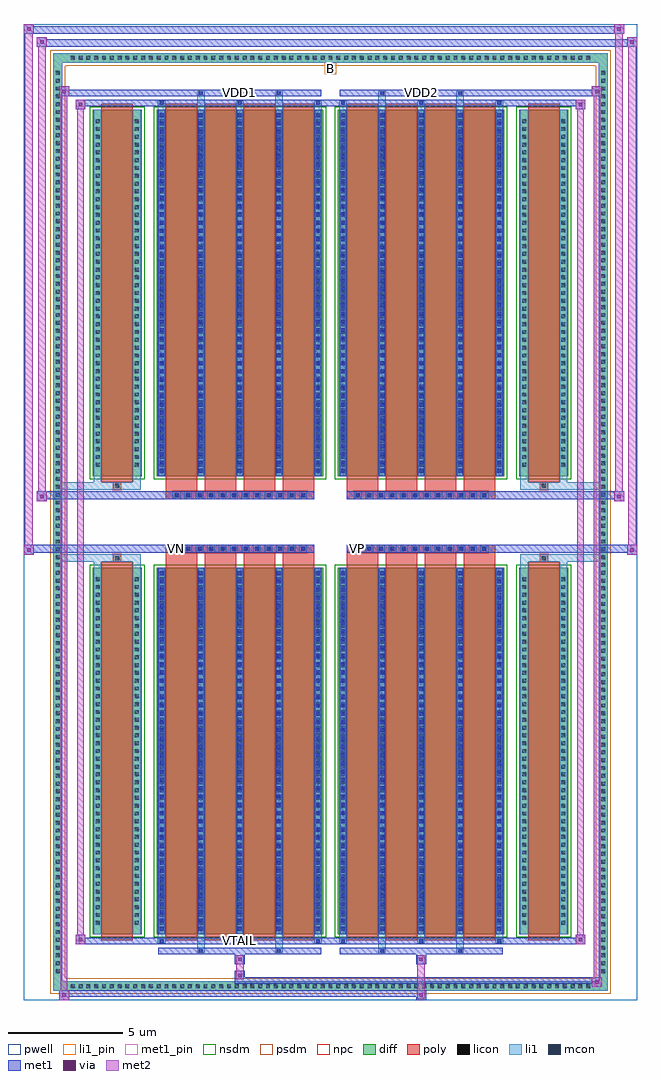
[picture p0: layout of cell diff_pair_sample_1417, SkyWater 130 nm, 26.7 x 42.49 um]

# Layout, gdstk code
import gdstk
lib = gdstk.Library(unit=1e-6, precision=5e-09)
def R(c, l, rs):  # rectangles x0, y0, x1, y1
    for r in rs: c.add(gdstk.rectangle(r[:2], r[2:], *l))
def A(c, l, x, y, w, h, nx, ny, dx, dy):  # array of equal rectangles
    R(c, l, [(x+i*dx, y+j*dy, x+i*dx+w, y+j*dy+h) for i in range(nx) for j in range(ny)])
def P(c, l, *ps):  # polygons
    for p in ps: c.add(gdstk.Polygon(p, *l))
pwell = (64, 44)
diff = (65, 20)
poly = (66, 20)
licon = (66, 44)
li1_pin = (67, 16)
li1 = (67, 20)
mcon = (67, 44)
met1_pin = (68, 16)
met1 = (68, 20)
via = (68, 44)
met2 = (69, 20)
nsdm = (93, 44)
psdm = (94, 20)
npc = (95, 20)

diff_pair_sample_1417 = lib.new_cell('diff_pair_sample_1417')
R(diff_pair_sample_1417, pwell, [(-13.35,-20.81,13.35,21.68), (-10.67,-19,-0.01,-0.8), (0.01,-19,10.67,-0.8), (-10.67,0.8,-0.01,19), (0.01,0.8,10.67,19)])
A(diff_pair_sample_1417, diff, -11.425, -20.41, 0.41, 0.41, 67, 2, 0.34, 40.41)
A(diff_pair_sample_1417, diff, -12.08, -19.755, 0.41, 0.41, 1, 116, 0, 0.34)
A(diff_pair_sample_1417, diff, 11.67, -19.755, 0.41, 0.41, 1, 116, 0, 0.34)
R(diff_pair_sample_1417, diff, [(-11.425,-20.41,11.425,-20), (-12.08,-19.755,-11.67,19.755), (11.67,-19.755,12.08,19.755), (-10.36,-17.955,-8.21,-1.985), (-7.57,-17.955,-0.32,-1.985), (0.32,-17.955,7.57,-1.985), (8.21,-17.955,10.36,-1.985), (-10.36,1.985,-8.21,17.955), (-7.57,1.985,-0.32,17.955), (0.32,1.985,7.57,17.955), (8.21,1.985,10.36,17.955), (-11.425,20,11.425,20.41)])
P(diff_pair_sample_1417, diff, [(12.08,20.41),(-12.08,20.41),(-12.08,-20),(-11.67,-20),(-11.67,20),(11.67,20),(11.67,-20),(-11.67,-20),(-12.08,-20),(-12.08,-20.41),(12.08,-20.41)])
A(diff_pair_sample_1417, poly, -7.18, -18.205, 1.37, 16.47, 4, 2, 1.7, 19.94)
A(diff_pair_sample_1417, poly, 0.71, -18.205, 1.37, 16.47, 4, 2, 1.7, 19.94)
A(diff_pair_sample_1417, poly, -7.18, -1.735, 1.37, 0.405, 4, 2, 1.7, 3.065)
A(diff_pair_sample_1417, poly, 0.71, -1.735, 1.37, 0.405, 4, 2, 1.7, 3.065)
A(diff_pair_sample_1417, poly, -6.86, -1.33, 0.33, 0.33, 12, 2, 0.5, 2.33)
A(diff_pair_sample_1417, poly, 1.03, -1.33, 0.33, 0.33, 12, 2, 0.5, 2.33)
R(diff_pair_sample_1417, poly, [(-9.97,-18.205,-8.6,-1.735), (8.6,-18.205,9.97,-1.735), (-9.45,-1.735,-9.12,-1.405), (-9.45,-1.735,-9.12,-1.405), (9.12,-1.735,9.45,-1.405), (9.12,-1.735,9.45,-1.405), (-7.18,-1.33,-0.71,-1), (0.71,-1.33,7.18,-1), (-7.18,1,-0.71,1.33), (0.71,1,7.18,1.33), (-9.45,1.405,-9.12,1.735), (-9.45,1.405,-9.12,1.735), (9.12,1.405,9.45,1.735), (9.12,1.405,9.45,1.735), (-9.97,1.735,-8.6,18.205), (8.6,1.735,9.97,18.205)])
A(diff_pair_sample_1417, licon, -11.305, -20.29, 0.17, 0.17, 67, 2, 0.34, 40.41)
A(diff_pair_sample_1417, licon, -11.96, -19.635, 0.17, 0.17, 1, 116, 0, 0.34)
A(diff_pair_sample_1417, licon, 11.79, -19.635, 0.17, 0.17, 1, 116, 0, 0.34)
A(diff_pair_sample_1417, licon, -10.22, -17.535, 0.17, 0.17, 1, 45, 0, 0.34)
A(diff_pair_sample_1417, licon, -8.52, -17.535, 0.17, 0.17, 1, 45, 0, 0.34)
A(diff_pair_sample_1417, licon, -7.43, -17.535, 0.17, 0.17, 5, 45, 1.7, 0.34)
A(diff_pair_sample_1417, licon, 0.46, -17.535, 0.17, 0.17, 5, 45, 1.7, 0.34)
A(diff_pair_sample_1417, licon, 8.35, -17.535, 0.17, 0.17, 1, 45, 0, 0.34)
A(diff_pair_sample_1417, licon, 10.05, -17.535, 0.17, 0.17, 1, 45, 0, 0.34)
A(diff_pair_sample_1417, licon, -6.78, -1.25, 0.17, 0.17, 12, 2, 0.5, 2.33)
A(diff_pair_sample_1417, licon, 1.11, -1.25, 0.17, 0.17, 12, 2, 0.5, 2.33)
A(diff_pair_sample_1417, licon, -10.22, 2.405, 0.17, 0.17, 1, 45, 0, 0.34)
A(diff_pair_sample_1417, licon, -8.52, 2.405, 0.17, 0.17, 1, 45, 0, 0.34)
A(diff_pair_sample_1417, licon, -7.43, 2.405, 0.17, 0.17, 5, 45, 1.7, 0.34)
A(diff_pair_sample_1417, licon, 0.46, 2.405, 0.17, 0.17, 5, 45, 1.7, 0.34)
A(diff_pair_sample_1417, licon, 8.35, 2.405, 0.17, 0.17, 1, 45, 0, 0.34)
A(diff_pair_sample_1417, licon, 10.05, 2.405, 0.17, 0.17, 1, 45, 0, 0.34)
R(diff_pair_sample_1417, licon, [(-9.37,-1.655,-9.2,-1.485), (9.2,-1.655,9.37,-1.485), (-9.37,1.485,-9.2,1.655), (9.2,1.485,9.37,1.655)])
R(diff_pair_sample_1417, li1_pin, [(-0.25,19.5,0.25,20)])
A(diff_pair_sample_1417, li1, -11.385, -20.37, 0.33, 0.33, 67, 2, 0.34, 40.41)
A(diff_pair_sample_1417, li1, -12.04, -19.715, 0.33, 0.33, 1, 116, 0, 0.34)
A(diff_pair_sample_1417, li1, 11.71, -19.715, 0.33, 0.33, 1, 116, 0, 0.34)
A(diff_pair_sample_1417, li1, -7.51, -18.33, 0.33, 0.375, 3, 2, 3.4, 36.285)
A(diff_pair_sample_1417, li1, -7.43, -18.33, 0.17, 0.17, 3, 2, 3.4, 36.49)
A(diff_pair_sample_1417, li1, 0.38, -18.33, 0.33, 0.375, 3, 2, 3.4, 36.285)
A(diff_pair_sample_1417, li1, 0.46, -18.33, 0.17, 0.17, 3, 2, 3.4, 36.49)
A(diff_pair_sample_1417, li1, -7.51, -17.955, 0.33, 15.97, 5, 2, 1.7, 19.94)
A(diff_pair_sample_1417, li1, 0.38, -17.955, 0.33, 15.97, 5, 2, 1.7, 19.94)
A(diff_pair_sample_1417, li1, -7.43, -17.795, 0.17, 0.17, 5, 44, 1.7, 0.36)
A(diff_pair_sample_1417, li1, -7.43, -17.795, 0.17, 15.65, 5, 2, 1.7, 19.94)
A(diff_pair_sample_1417, li1, 0.46, -17.795, 0.17, 0.17, 5, 44, 1.7, 0.36)
A(diff_pair_sample_1417, li1, 0.46, -17.795, 0.17, 15.65, 5, 2, 1.7, 19.94)
A(diff_pair_sample_1417, li1, -10.3, -17.615, 0.33, 0.33, 1, 45, 0, 0.34)
A(diff_pair_sample_1417, li1, -8.6, -17.615, 0.33, 0.33, 1, 45, 0, 0.34)
A(diff_pair_sample_1417, li1, -7.51, -17.615, 0.33, 0.33, 5, 45, 1.7, 0.34)
A(diff_pair_sample_1417, li1, 0.38, -17.615, 0.33, 0.33, 5, 45, 1.7, 0.34)
A(diff_pair_sample_1417, li1, 8.27, -17.615, 0.33, 0.33, 1, 45, 0, 0.34)
A(diff_pair_sample_1417, li1, 9.97, -17.615, 0.33, 0.33, 1, 45, 0, 0.34)
A(diff_pair_sample_1417, li1, -6.86, -1.33, 0.33, 0.33, 12, 2, 0.5, 2.33)
A(diff_pair_sample_1417, li1, 1.03, -1.33, 0.33, 0.33, 12, 2, 0.5, 2.33)
A(diff_pair_sample_1417, li1, -7.43, 2.145, 0.17, 0.17, 5, 44, 1.7, 0.36)
A(diff_pair_sample_1417, li1, 0.46, 2.145, 0.17, 0.17, 5, 44, 1.7, 0.36)
A(diff_pair_sample_1417, li1, -10.3, 2.325, 0.33, 0.33, 1, 45, 0, 0.34)
A(diff_pair_sample_1417, li1, -8.6, 2.325, 0.33, 0.33, 1, 45, 0, 0.34)
A(diff_pair_sample_1417, li1, -7.51, 2.325, 0.33, 0.33, 5, 45, 1.7, 0.34)
A(diff_pair_sample_1417, li1, 0.38, 2.325, 0.33, 0.33, 5, 45, 1.7, 0.34)
A(diff_pair_sample_1417, li1, 8.27, 2.325, 0.33, 0.33, 1, 45, 0, 0.34)
A(diff_pair_sample_1417, li1, 9.97, 2.325, 0.33, 0.33, 1, 45, 0, 0.34)
R(diff_pair_sample_1417, li1, [(-12.08,-20.41,-11.67,-20), (-12.08,-20.41,-11.67,-20), (-11.67,-20.41,11.67,-20), (11.67,-20.41,12.08,-20), (11.67,-20.41,12.08,-20), (-12.08,-20,-11.67,20), (11.67,-20,12.08,20), (-5.81,-18.76,-5.48,-17.955), (-5.73,-18.76,-5.56,-18.59), (-2.41,-18.76,-2.08,-17.955), (-2.33,-18.76,-2.16,-18.59), (2.08,-18.76,2.41,-17.955), (2.16,-18.76,2.33,-18.59), (5.48,-18.76,5.81,-17.955), (5.56,-18.76,5.73,-18.59), (-10.3,-17.955,-9.97,-1.985), (-8.6,-17.955,-8.27,-1.985), (8.27,-17.955,8.6,-1.985), (9.97,-17.955,10.3,-1.985), (-10.3,-1.985,-9.97,-1.405), (-8.6,-1.985,-8.27,-1.405), (8.27,-1.985,8.6,-1.405), (9.97,-1.985,10.3,-1.405), (-12.08,-1.735,-9.45,-1.405), (-10.3,-1.735,-9.45,-1.405), (-9.45,-1.735,-9.12,-1.405), (-9.12,-1.735,-8.27,-1.405), (8.27,-1.735,9.12,-1.405), (9.12,-1.735,9.45,-1.405), (9.12,-1.735,12.08,-1.405), (9.45,-1.735,10.3,-1.405), (-12.08,1.405,-9.45,1.735), (-10.3,1.405,-9.45,1.735), (-10.3,1.405,-9.97,1.985), (-9.45,1.405,-9.12,1.735), (-9.12,1.405,-8.27,1.735), (-8.6,1.405,-8.27,1.985), (8.27,1.405,9.12,1.735), (8.27,1.405,8.6,1.985), (9.12,1.405,9.45,1.735), (9.12,1.405,12.08,1.735), (9.45,1.405,10.3,1.735), (9.97,1.405,10.3,1.985), (-10.3,1.985,-9.97,17.955), (-8.6,1.985,-8.27,17.955), (8.27,1.985,8.6,17.955), (9.97,1.985,10.3,17.955), (-5.81,17.955,-5.48,18.76), (-2.41,17.955,-2.08,18.76), (2.08,17.955,2.41,18.76), (5.48,17.955,5.81,18.76), (-5.73,18.59,-5.56,18.76), (-2.33,18.59,-2.16,18.76), (2.16,18.59,2.33,18.76), (5.56,18.59,5.73,18.76), (-12.08,20,-11.67,20.41), (-12.08,20,-11.67,20.41), (-11.67,20,11.67,20.41), (11.67,20,12.08,20.41), (11.67,20,12.08,20.41)])
A(diff_pair_sample_1417, mcon, -7.43, -18.33, 0.17, 0.17, 3, 2, 3.4, 36.49)
A(diff_pair_sample_1417, mcon, 0.46, -18.33, 0.17, 0.17, 3, 2, 3.4, 36.49)
A(diff_pair_sample_1417, mcon, -7.43, -17.795, 0.17, 0.17, 5, 44, 1.7, 0.36)
A(diff_pair_sample_1417, mcon, 0.46, -17.795, 0.17, 0.17, 5, 44, 1.7, 0.36)
A(diff_pair_sample_1417, mcon, -6.78, -1.25, 0.17, 0.17, 12, 2, 0.5, 2.33)
A(diff_pair_sample_1417, mcon, 1.11, -1.25, 0.17, 0.17, 12, 2, 0.5, 2.33)
A(diff_pair_sample_1417, mcon, -7.43, 2.145, 0.17, 0.17, 5, 44, 1.7, 0.36)
A(diff_pair_sample_1417, mcon, 0.46, 2.145, 0.17, 0.17, 5, 44, 1.7, 0.36)
R(diff_pair_sample_1417, mcon, [(-5.73,-18.76,-5.56,-18.59), (-2.33,-18.76,-2.16,-18.59), (2.16,-18.76,2.33,-18.59), (5.56,-18.76,5.73,-18.59), (-5.73,18.59,-5.56,18.76), (-2.33,18.59,-2.16,18.76), (2.16,18.59,2.33,18.76), (5.56,18.59,5.73,18.76)])
R(diff_pair_sample_1417, met1_pin, [(-4.08,-18.37,-3.81,-18.1), (-6.83,-1.29,-6.56,-1.02), (1.06,-1.29,1.33,-1.02), (-4.08,18.55,-3.81,18.82), (3.81,18.55,4.08,18.82)])
A(diff_pair_sample_1417, met1, -7.49, -18.39, 0.29, 0.29, 3, 2, 3.4, 36.49)
A(diff_pair_sample_1417, met1, 0.4, -18.39, 0.29, 0.29, 3, 2, 3.4, 36.49)
A(diff_pair_sample_1417, met1, -7.49, -17.955, 0.29, 15.97, 5, 2, 1.7, 19.94)
A(diff_pair_sample_1417, met1, 0.4, -17.955, 0.29, 15.97, 5, 2, 1.7, 19.94)
A(diff_pair_sample_1417, met1, -7.49, -17.855, 0.29, 0.29, 5, 44, 1.7, 0.36)
A(diff_pair_sample_1417, met1, 0.4, -17.855, 0.29, 0.29, 5, 44, 1.7, 0.36)
A(diff_pair_sample_1417, met1, -6.84, -1.31, 0.29, 0.29, 12, 2, 0.5, 2.33)
A(diff_pair_sample_1417, met1, 1.05, -1.31, 0.29, 0.29, 12, 2, 0.5, 2.33)
A(diff_pair_sample_1417, met1, -7.49, 2.085, 0.29, 0.29, 5, 44, 1.7, 0.36)
A(diff_pair_sample_1417, met1, 0.4, 2.085, 0.29, 0.29, 5, 44, 1.7, 0.36)
R(diff_pair_sample_1417, met1, [(-11.81,-20.81,-11.38,-20.38), (3.73,-20.81,4.16,-20.38), (-11.81,-20.67,4.16,-20.38), (11.38,-20.24,11.81,-19.81), (-4.16,-20.1,11.81,-19.81), (-4.16,-19.96,-3.73,-19.53), (-4.16,-19.25,-3.73,-18.82), (3.73,-19.25,4.16,-18.82), (-7.49,-18.82,-0.4,-18.53), (-5.79,-18.82,-5.5,-18.53), (-2.39,-18.82,-2.1,-18.53), (0.4,-18.82,7.49,-18.53), (2.1,-18.82,2.39,-18.53), (5.5,-18.82,5.79,-18.53), (-11.1,-18.39,-10.67,-17.96), (-11.1,-18.39,-7.49,-18.1), (-7.49,-18.39,-0.4,-18.1), (-0.4,-18.39,0.4,-18.1), (0.4,-18.39,7.49,-18.1), (7.49,-18.39,11.1,-18.1), (10.67,-18.39,11.1,-17.96), (-13.35,-1.43,-12.92,-1), (12.92,-1.43,13.35,-1), (-13.35,-1.33,-0.71,-1), (-7.18,-1.33,-0.71,-1), (0.71,-1.33,7.18,-1), (0.71,-1.33,13.35,-1), (-12.78,0.9,-12.35,1.33), (12.35,0.9,12.78,1.33), (-12.78,1,-7.18,1.33), (-7.18,1,-0.71,1.33), (0.71,1,7.18,1.33), (7.18,1,12.78,1.33), (-11.1,17.96,-10.67,18.39), (10.67,17.96,11.1,18.39), (-11.1,18.1,-7.49,18.39), (-7.49,18.1,-0.4,18.39), (-0.4,18.1,0.4,18.39), (0.4,18.1,7.49,18.39), (7.49,18.1,11.1,18.39), (-11.81,18.53,-11.38,18.96), (-11.81,18.53,-7.49,18.82), (-7.49,18.53,-0.4,18.82), (-5.79,18.53,-5.5,18.82), (-2.39,18.53,-2.1,18.82), (0.4,18.53,7.49,18.82), (2.1,18.53,2.39,18.82), (5.5,18.53,5.79,18.82), (7.49,18.53,11.81,18.82), (11.38,18.53,11.81,18.96), (-12.78,20.68,-12.35,21.11), (-12.78,20.68,-10.67,21.01), (-10.67,20.68,10.67,21.01), (10.67,20.68,13.35,21.01), (12.92,20.68,13.35,21.11), (-13.35,21.25,-12.92,21.68), (-13.35,21.25,-10.67,21.58), (-10.67,21.25,10.67,21.58), (10.67,21.25,12.78,21.58), (12.35,21.25,12.78,21.68)])
R(diff_pair_sample_1417, via, [(-11.67,-20.67,-11.52,-20.52), (3.87,-20.67,4.02,-20.52), (11.52,-20.1,11.67,-19.95), (-4.02,-19.82,-3.87,-19.67), (-4.02,-19.11,-3.87,-18.96), (3.87,-19.11,4.02,-18.96), (-10.96,-18.25,-10.81,-18.1), (10.81,-18.25,10.96,-18.1), (-13.21,-1.29,-13.06,-1.14), (13.06,-1.29,13.21,-1.14), (-12.64,1.04,-12.49,1.19), (12.49,1.04,12.64,1.19), (-10.96,18.1,-10.81,18.25), (10.81,18.1,10.96,18.25), (-11.67,18.67,-11.52,18.82), (11.52,18.67,11.67,18.82), (-12.64,20.82,-12.49,20.97), (13.06,20.82,13.21,20.97), (-13.21,21.39,-13.06,21.54), (12.49,21.39,12.64,21.54)])
R(diff_pair_sample_1417, met2, [(-11.81,-20.81,-11.38,-20.38), (-11.74,-20.81,-11.45,18.96), (-11.45,-20.81,-11.38,-20.38), (-11.76,-20.76,-11.43,-20.43), (3.78,-20.76,4.11,-20.43), (3.78,-20.43,4.11,-19.2), (11.38,-20.24,11.81,-19.81), (11.45,-20.24,11.74,18.96), (11.74,-20.24,11.81,-19.81), (11.43,-20.19,11.76,-19.86), (-4.11,-19.91,-3.78,-19.58), (-4.11,-19.58,-3.78,-19.2), (-4.11,-19.2,-3.78,-18.87), (3.78,-19.2,4.11,-18.87), (-11.1,-18.39,-10.67,-17.96), (-11.03,-18.39,-10.74,18.39), (-10.74,-18.39,-10.67,-17.96), (10.67,-18.39,11.1,-17.96), (10.74,-18.39,11.03,18.39), (11.03,-18.39,11.1,-17.96), (-11.05,-18.34,-10.72,-18.01), (10.72,-18.34,11.05,-18.01), (-13.35,-1.43,-12.92,-1), (-13.3,-1.43,-12.97,21.68), (-12.97,-1.43,-12.92,-1), (12.92,-1.43,13.35,-1), (12.97,-1.43,13.3,21.11), (13.3,-1.43,13.35,-1), (-13.3,-1.38,-12.97,-1.05), (12.97,-1.38,13.3,-1.05), (-12.78,0.9,-12.35,1.33), (-12.73,0.9,-12.4,21.11), (-12.4,0.9,-12.35,1.33), (12.35,0.9,12.78,1.33), (12.4,0.9,12.73,21.68), (12.73,0.9,12.78,1.33), (-12.73,0.95,-12.4,1.28), (12.4,0.95,12.73,1.28), (-11.1,17.96,-10.67,18.39), (-10.74,17.96,-10.67,18.39), (10.67,17.96,11.1,18.39), (11.03,17.96,11.1,18.39), (-11.05,18.01,-10.72,18.34), (10.72,18.01,11.05,18.34), (-11.81,18.53,-11.38,18.96), (-11.45,18.53,-11.38,18.96), (11.38,18.53,11.81,18.96), (11.74,18.53,11.81,18.96), (-11.76,18.58,-11.43,18.91), (11.43,18.58,11.76,18.91), (-12.78,20.68,-12.35,21.11), (-12.4,20.68,-12.35,21.11), (12.92,20.68,13.35,21.11), (13.3,20.68,13.35,21.11), (-12.73,20.73,-12.4,21.06), (12.97,20.73,13.3,21.06), (-13.35,21.25,-12.92,21.68), (-12.97,21.25,-12.92,21.68), (12.35,21.25,12.78,21.68), (12.73,21.25,12.78,21.68), (-13.3,21.3,-12.97,21.63), (12.4,21.3,12.73,21.63)])
R(diff_pair_sample_1417, nsdm, [(-10.49,-18.085,-8.08,-1.855), (-7.7,-18.085,-0.19,-1.855), (0.19,-18.085,7.7,-1.855), (8.08,-18.085,10.49,-1.855), (-10.49,1.855,-8.08,18.085), (-7.7,1.855,-0.19,18.085), (0.19,1.855,7.7,18.085), (8.08,1.855,10.49,18.085)])
P(diff_pair_sample_1417, psdm, [(12.21,20.54),(-12.21,20.54),(-12.21,-19.87),(-11.54,-19.87),(-11.54,19.87),(11.54,19.87),(11.54,-19.87),(-11.54,-19.87),(-12.21,-19.87),(-12.21,-20.54),(12.21,-20.54)])
A(diff_pair_sample_1417, npc, -6.88, -1.35, 0.37, 0.37, 12, 2, 0.5, 2.33)
A(diff_pair_sample_1417, npc, 1.01, -1.35, 0.37, 0.37, 12, 2, 0.5, 2.33)
R(diff_pair_sample_1417, npc, [(-9.47,-1.755,-9.1,-1.385), (9.1,-1.755,9.47,-1.385), (-6.88,-1.35,-6.01,-0.98), (-6.88,-1.35,-6.01,-0.98), (-6.38,-1.35,-5.51,-0.98), (-6.38,-1.35,-5.51,-0.98), (-5.88,-1.35,-5.01,-0.98), (-5.88,-1.35,-5.01,-0.98), (-5.38,-1.35,-4.51,-0.98), (-5.38,-1.35,-4.51,-0.98), (-4.88,-1.35,-4.01,-0.98), (-4.88,-1.35,-4.01,-0.98), (-4.38,-1.35,-3.51,-0.98), (-4.38,-1.35,-3.51,-0.98), (-3.88,-1.35,-3.01,-0.98), (-3.88,-1.35,-3.01,-0.98), (-3.38,-1.35,-2.51,-0.98), (-3.38,-1.35,-2.51,-0.98), (-2.88,-1.35,-2.01,-0.98), (-2.88,-1.35,-2.01,-0.98), (-2.38,-1.35,-1.51,-0.98), (-2.38,-1.35,-1.51,-0.98), (-1.88,-1.35,-1.01,-0.98), (-1.88,-1.35,-1.01,-0.98), (1.01,-1.35,1.88,-0.98), (1.01,-1.35,1.88,-0.98), (1.51,-1.35,2.38,-0.98), (1.51,-1.35,2.38,-0.98), (2.01,-1.35,2.88,-0.98), (2.01,-1.35,2.88,-0.98), (2.51,-1.35,3.38,-0.98), (2.51,-1.35,3.38,-0.98), (3.01,-1.35,3.88,-0.98), (3.01,-1.35,3.88,-0.98), (3.51,-1.35,4.38,-0.98), (3.51,-1.35,4.38,-0.98), (4.01,-1.35,4.88,-0.98), (4.01,-1.35,4.88,-0.98), (4.51,-1.35,5.38,-0.98), (4.51,-1.35,5.38,-0.98), (5.01,-1.35,5.88,-0.98), (5.01,-1.35,5.88,-0.98), (5.51,-1.35,6.38,-0.98), (5.51,-1.35,6.38,-0.98), (6.01,-1.35,6.88,-0.98), (6.01,-1.35,6.88,-0.98), (-6.88,0.98,-6.01,1.35), (-6.88,0.98,-6.01,1.35), (-6.38,0.98,-5.51,1.35), (-6.38,0.98,-5.51,1.35), (-5.88,0.98,-5.01,1.35), (-5.88,0.98,-5.01,1.35), (-5.38,0.98,-4.51,1.35), (-5.38,0.98,-4.51,1.35), (-4.88,0.98,-4.01,1.35), (-4.88,0.98,-4.01,1.35), (-4.38,0.98,-3.51,1.35), (-4.38,0.98,-3.51,1.35), (-3.88,0.98,-3.01,1.35), (-3.88,0.98,-3.01,1.35), (-3.38,0.98,-2.51,1.35), (-3.38,0.98,-2.51,1.35), (-2.88,0.98,-2.01,1.35), (-2.88,0.98,-2.01,1.35), (-2.38,0.98,-1.51,1.35), (-2.38,0.98,-1.51,1.35), (-1.88,0.98,-1.01,1.35), (-1.88,0.98,-1.01,1.35), (1.01,0.98,1.88,1.35), (1.01,0.98,1.88,1.35), (1.51,0.98,2.38,1.35), (1.51,0.98,2.38,1.35), (2.01,0.98,2.88,1.35), (2.01,0.98,2.88,1.35), (2.51,0.98,3.38,1.35), (2.51,0.98,3.38,1.35), (3.01,0.98,3.88,1.35), (3.01,0.98,3.88,1.35), (3.51,0.98,4.38,1.35), (3.51,0.98,4.38,1.35), (4.01,0.98,4.88,1.35), (4.01,0.98,4.88,1.35), (4.51,0.98,5.38,1.35), (4.51,0.98,5.38,1.35), (5.01,0.98,5.88,1.35), (5.01,0.98,5.88,1.35), (5.51,0.98,6.38,1.35), (5.51,0.98,6.38,1.35), (6.01,0.98,6.88,1.35), (6.01,0.98,6.88,1.35), (-9.47,1.385,-9.1,1.755), (9.1,1.385,9.47,1.755)])
diff_pair_sample_1417.add(gdstk.Label('VTAIL', (-3.945,-18.235), layer=68, texttype=5))
diff_pair_sample_1417.add(gdstk.Label('VN', (-6.695,-1.155), layer=68, texttype=5))
diff_pair_sample_1417.add(gdstk.Label('VP', (1.195,-1.155), layer=68, texttype=5))
diff_pair_sample_1417.add(gdstk.Label('B', (0,19.75), layer=67, texttype=5))
diff_pair_sample_1417.add(gdstk.Label('VDD2', (3.945,18.685), layer=68, texttype=5))
diff_pair_sample_1417.add(gdstk.Label('VDD1', (-3.945,18.685), layer=68, texttype=5))

lib.write_gds('diff_pair_sample_1417.gds')
